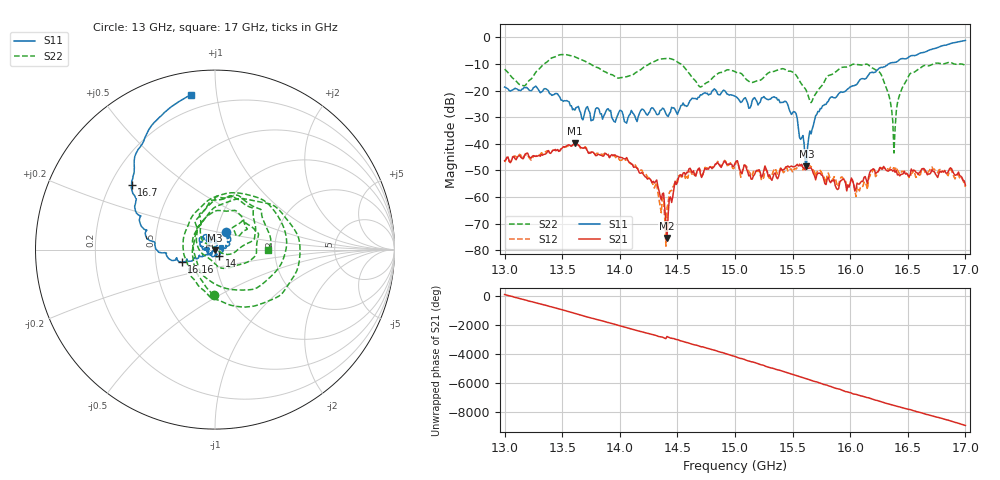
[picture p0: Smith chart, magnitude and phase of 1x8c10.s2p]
!Keysight Technologies,P9374A,MY57211807,A.19.30.04
!Date: Friday, May 08, 2026 15:07:21
!Correction: S11(C  2-Port  )
!S21(C  2-Port  )
!S12(C  2-Port  )
!S22(C  2-Port  )
!S2P File: Measurements: S11, S21, S12, S22:
# Hz S  dB  R 50
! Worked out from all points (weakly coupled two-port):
!   401 points, 13 GHz to 17 GHz, reference 50 ohm
!   highest |S21| = -39.81 dB at 13.61 GHz (marker M1); lowest = -75.4 dB at 14.41 GHz (marker M2)
!   lowest |S11| = -48.5 dB at 15.62 GHz (marker M3), VSWR 1.01, Z = 50.2 - j0.337 ohm
!   |S11| at or under -10 dB: start of sweep to 16.33 GHz
!   |S22| runs from -43.5 to -6.5 dB; largest |S21 - S12| = 0.00095
!   S11 on the Smith chart (normalised r, x): 13 GHz: 1.11, +0.22; 14 GHz: 1.04, -0.08; 16.16 GHz: 0.68, -0.10; 16.7 GHz: 0.29, +0.32; 17 GHz: 0.12, +0.85
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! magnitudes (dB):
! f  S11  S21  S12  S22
! 13 GHz  -18.7  -46.4  -46.8  -12.0
! 13.17 GHz  -18.8  -44.6  -44.7  -18.3
! 13.61 GHz  -27.3  -39.8  -40.0  -7.3
! 13.67 GHz  -30.5  -41.4  -41.5  -8.5
! 14 GHz  -27.5  -45.1  -46.2  -15.2
! 14.34 GHz  -28.8  -57.6  -60.7  -8.3
! 14.41 GHz  -29.4  -75.4  -64.0  -7.9
! 14.45 GHz  -26.3  -62.0  -57.5  -8.1
! 14.54 GHz  -25.5  -52.2  -52.4  -10.3
! 14.7 GHz  -21.6  -51.3  -50.0  -18.7
! 15 GHz  -22.1  -47.3  -48.3  -12.9
! 15.14 GHz  -25.6  -53.3  -51.6  -16.9
! 15.44 GHz  -24.0  -48.7  -49.3  -12.3
! 15.62 GHz  -48.5  -49.6  -49.3  -20.1
! 15.67 GHz  -34.5  -49.8  -48.9  -23.9
! 15.91 GHz  -20.8  -54.4  -53.6  -11.7
! 16.16 GHz  -14.1  -52.4  -53.2  -10.4
! 16.34 GHz  -9.9  -50.0  -49.7  -22.5
! 16.38 GHz  -9.5  -49.8  -49.0  -43.5
! 16.51 GHz  -7.4  -52.4  -52.6  -14.3
! 16.7 GHz  -4.6  -50.9  -49.1  -10.4
! 17 GHz  -1.2  -55.5  -56.2  -10.6
